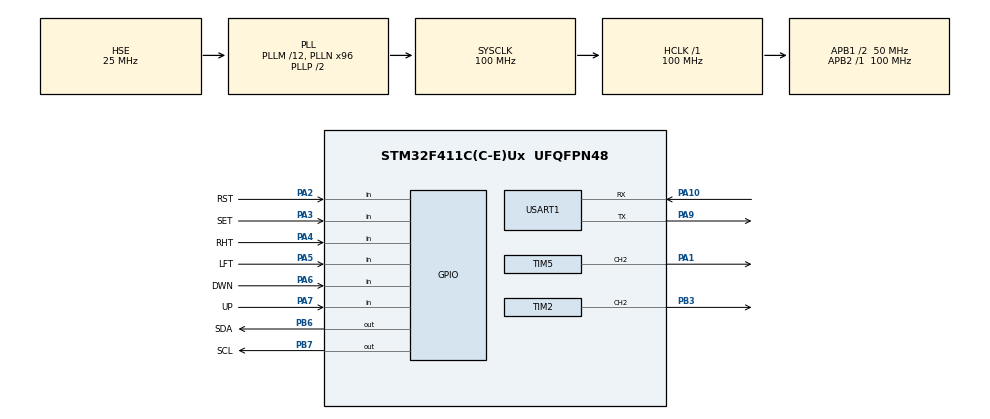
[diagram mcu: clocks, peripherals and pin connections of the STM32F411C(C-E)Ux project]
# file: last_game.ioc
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Dma.Request0=USART1_RX
Dma.USART1_RX.0.Direction=DMA_PERIPH_TO_MEMORY
Dma.USART1_RX.0.FIFOMode=DMA_FIFOMODE_DISABLE
Dma.USART1_RX.0.Instance=DMA2_Stream2
Dma.USART1_RX.0.MemDataAlignment=DMA_MDATAALIGN_BYTE
Dma.USART1_RX.0.MemInc=DMA_MINC_ENABLE
Dma.USART1_RX.0.Mode=DMA_NORMAL
Dma.USART1_RX.0.PeriphDataAlignment=DMA_PDATAALIGN_BYTE
Dma.USART1_RX.0.PeriphInc=DMA_PINC_DISABLE
Dma.USART1_RX.0.Priority=DMA_PRIORITY_LOW
Mcu.Family=STM32F4
Mcu.Name=STM32F411C(C-E)Ux
Mcu.Package=UFQFPN48
NVIC.DMA2_Stream2_IRQn=true\:0\:0\:false\:false\:true\:false\:true\:true
NVIC.PriorityGroup=NVIC_PRIORITYGROUP_4
NVIC.TIM3_IRQn=true\:0\:0\:false\:false\:true\:true\:true\:true
PA1.Signal=S_TIM5_CH2
PA10.Mode=Asynchronous
PA10.Signal=USART1_RX
PA13.Mode=Serial_Wire
PA13.Signal=SYS_JTMS-SWDIO
PA14.Mode=Serial_Wire
PA14.Signal=SYS_JTCK-SWCLK
PA2.GPIO_Label=RST
PA2.GPIO_PuPd=GPIO_PULLUP
PA2.Signal=GPIO_Input
PA3.GPIO_Label=SET
PA3.GPIO_PuPd=GPIO_PULLUP
PA3.Signal=GPIO_Input
PA4.GPIO_Label=RHT
PA4.GPIO_PuPd=GPIO_PULLUP
PA4.Signal=GPIO_Input
PA5.GPIO_Label=LFT
PA5.GPIO_PuPd=GPIO_PULLUP
PA5.Signal=GPIO_Input
PA6.GPIO_Label=DWN
PA6.GPIO_PuPd=GPIO_PULLUP
PA6.Signal=GPIO_Input
PA7.GPIO_Label=UP
PA7.GPIO_PuPd=GPIO_PULLUP
PA7.Signal=GPIO_Input
PA9.Mode=Asynchronous
PA9.Signal=USART1_TX
PB3.Signal=S_TIM2_CH2
PB6.GPIO_Label=SDA
PB6.GPIO_PuPd=GPIO_PULLUP
PB6.GPIO_Speed=GPIO_SPEED_FREQ_HIGH
PB6.PinState=GPIO_PIN_SET
PB6.Signal=GPIO_Output
PB7.GPIO_Label=SCL
PB7.GPIO_PuPd=GPIO_PULLUP
PB7.PinState=GPIO_PIN_SET
PB7.Signal=GPIO_Output
PC14-OSC32_IN.Mode=LSE-External-Oscillator
PC14-OSC32_IN.Signal=RCC_OSC32_IN
PC15-OSC32_OUT.Mode=LSE-External-Oscillator
PC15-OSC32_OUT.Signal=RCC_OSC32_OUT
PH0\ -\ OSC_IN.Mode=HSE-External-Oscillator
PH0\ -\ OSC_IN.Signal=RCC_OSC_IN
PH1\ -\ OSC_OUT.Mode=HSE-External-Oscillator
PH1\ -\ OSC_OUT.Signal=RCC_OSC_OUT
ProjectManager.HeapSize=0x200
ProjectManager.StackSize=0x400
ProjectManager.TargetToolchain=MDK-ARM V5.32
RCC.48MHZClocksFreq_Value=50000000
RCC.AHBFreq_Value=100000000
RCC.APB1CLKDivider=RCC_HCLK_DIV2
RCC.APB1Freq_Value=50000000
RCC.APB1TimFreq_Value=100000000
RCC.APB2Freq_Value=100000000
RCC.APB2TimFreq_Value=100000000
RCC.CortexFreq_Value=100000000
RCC.HCLKFreq_Value=100000000
RCC.HSE_VALUE=25000000
RCC.HSI_VALUE=16000000
RCC.PLLM=12
RCC.PLLN=96
RCC.PLLSourceVirtual=RCC_PLLSOURCE_HSE
RCC.SYSCLKFreq_VALUE=100000000
RCC.SYSCLKSource=RCC_SYSCLKSOURCE_PLLCLK
RCC.VCOOutputFreq_Value=200000000
SH.S_TIM2_CH2.0=TIM2_CH2,PWM Generation2 CH2
SH.S_TIM5_CH2.0=TIM5_CH2,PWM Generation2 CH2
TIM2.Channel-PWM\ Generation2\ CH2=TIM_CHANNEL_2
TIM2.Period=199999
TIM2.Prescaler=9
TIM3.Period=999
TIM3.Prescaler=999
TIM5.Channel-PWM\ Generation2\ CH2=TIM_CHANNEL_2
TIM5.Period=199999
TIM5.Prescaler=9
USART1.VirtualMode=VM_ASYNC
VP_TIM3_VS_ClockSourceINT.Mode=Internal
board=custom

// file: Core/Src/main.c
/* USER CODE BEGIN Header */
/**
  ******************************************************************************
  * @file           : main.c
  * @brief          : Main program body
  ******************************************************************************
  * @attention
  *
  * Copyright (c) 2023 STMicroelectronics.
  * All rights reserved.
  *
  * This software is licensed under terms that can be found in the LICENSE file
  * in the root directory of this software component.
  * If no LICENSE file comes with this software, it is provided AS-IS.
  *
  ******************************************************************************
  */
/* USER CODE END Header */
#include "main.h"
#include "dma.h"
#include "tim.h"
#include "usart.h"
#include "gpio.h"

/* USER CODE BEGIN Includes */
#include "servo.h"
/* USER CODE END Includes */

void SystemClock_Config(void);

int main(void)
{

  /* MCU Configuration--------------------------------------------------------*/

  /* Reset of all peripherals, Initializes the Flash interface and the Systick. */
  HAL_Init();

  /* Configure the system clock */
  SystemClock_Config();

  /* Initialize all configured peripherals */
  MX_GPIO_Init();
  MX_DMA_Init();
  MX_TIM2_Init();
  MX_TIM3_Init();
  MX_TIM5_Init();
  MX_USART1_UART_Init();
  /* USER CODE BEGIN 2 */
	HAL_TIM_Base_Start_IT(&htim3);
	servo_init();
	HAL_Delay(10000);
	servo_set_loca(0,10000);
	servo_set_loca(1,18000);
	uint16_t n=1000;
  /* USER CODE END 2 */

  /* Infinite loop */
  /* USER CODE BEGIN WHILE */
  while (1)
  {
		if(Key_Scan()==1)
			servo_set_loca(0,n+=100);
		if(Key_Scan()==2)
			servo_set_loca(0,n-=100);
		if(Key_Scan()==3)
			servo_set_loca(1,n+=100);
		if(Key_Scan()==4)
			servo_set_loca(1,n-=100);
		if(Key_Scan()==5)
			servo_set_loca(0,1000);
		if(Key_Scan()==6)
			servo_set_loca(1,1000);
    /* USER CODE END WHILE */

  }
}

void SystemClock_Config(void)
{
  RCC_OscInitTypeDef RCC_OscInitStruct = {0};
  RCC_ClkInitTypeDef RCC_ClkInitStruct = {0};

  /** Configure the main internal regulator output voltage
  */
  __HAL_RCC_PWR_CLK_ENABLE();
  __HAL_PWR_VOLTAGESCALING_CONFIG(PWR_REGULATOR_VOLTAGE_SCALE1);

  /** Initializes the RCC Oscillators according to the specified parameters
  * in the RCC_OscInitTypeDef structure.
  */
  RCC_OscInitStruct.OscillatorType = RCC_OSCILLATORTYPE_HSE;
  RCC_OscInitStruct.HSEState = RCC_HSE_ON;
  RCC_OscInitStruct.PLL.PLLState = RCC_PLL_ON;
  RCC_OscInitStruct.PLL.PLLSource = RCC_PLLSOURCE_HSE;
  RCC_OscInitStruct.PLL.PLLM = 12;
  RCC_OscInitStruct.PLL.PLLN = 96;
  RCC_OscInitStruct.PLL.PLLP = RCC_PLLP_DIV2;
  RCC_OscInitStruct.PLL.PLLQ = 4;
  if (HAL_RCC_OscConfig(&RCC_OscInitStruct) != HAL_OK)
  {
    Error_Handler();
  }

  /** Initializes the CPU, AHB and APB buses clocks
  */
  RCC_ClkInitStruct.ClockType = RCC_CLOCKTYPE_HCLK|RCC_CLOCKTYPE_SYSCLK
                              |RCC_CLOCKTYPE_PCLK1|RCC_CLOCKTYPE_PCLK2;
  RCC_ClkInitStruct.SYSCLKSource = RCC_SYSCLKSOURCE_PLLCLK;
  RCC_ClkInitStruct.AHBCLKDivider = RCC_SYSCLK_DIV1;
  RCC_ClkInitStruct.APB1CLKDivider = RCC_HCLK_DIV2;
  RCC_ClkInitStruct.APB2CLKDivider = RCC_HCLK_DIV1;

  if (HAL_RCC_ClockConfig(&RCC_ClkInitStruct, FLASH_LATENCY_3) != HAL_OK)
  {
    Error_Handler();
  }
}

void Error_Handler(void)
{
  __disable_irq();
  while (1)
  {
  }
}
